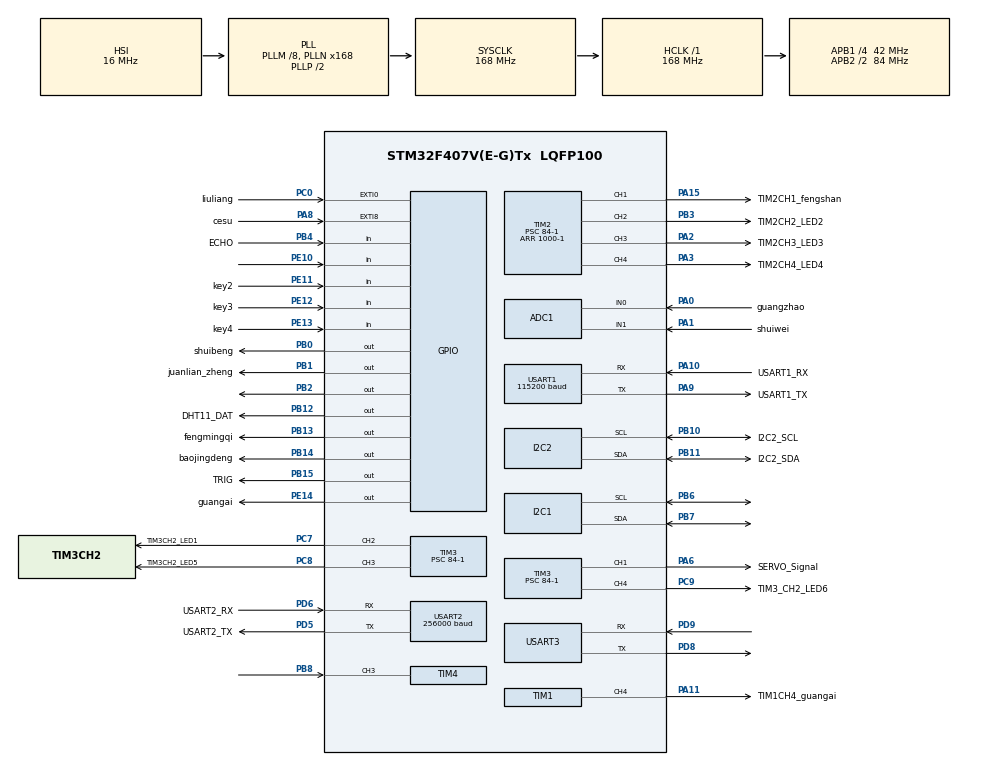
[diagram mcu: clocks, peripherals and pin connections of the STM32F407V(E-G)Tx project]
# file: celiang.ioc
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ADC1.Channel-0\#ChannelRegularConversion=ADC_CHANNEL_0
ADC1.NbrOfConversionFlag=1
ADC1.Rank-0\#ChannelRegularConversion=1
ADC1.SamplingTime-0\#ChannelRegularConversion=ADC_SAMPLETIME_3CYCLES
ADC1.master=1
FREERTOS.Tasks01=defaultTask,24,256,StartDefaultTask,Default,NULL,Dynamic,NULL,NULL;displayTask,16,256,StartdisplayTask,Default,NULL,Dynamic,NULL,NULL;buzzerTask,8,128,StartbuzzerTask,Default,NULL,Dynamic,NULL,NULL
Mcu.Family=STM32F4
Mcu.Name=STM32F407V(E-G)Tx
Mcu.Package=LQFP100
NVIC.EXTI0_IRQn=true\:5\:0\:false\:false\:true\:false\:true\:true\:true
NVIC.EXTI9_5_IRQn=true\:5\:0\:false\:false\:true\:false\:true\:true\:true
NVIC.PriorityGroup=NVIC_PRIORITYGROUP_4
NVIC.TIM7_IRQn=true\:15\:0\:false\:false\:true\:false\:false\:true\:true
NVIC.TimeBase=TIM7_IRQn
NVIC.TimeBaseIP=TIM7
NVIC.USART1_IRQn=true\:5\:0\:false\:false\:true\:true\:true\:true\:true
NVIC.USART2_IRQn=true\:5\:0\:false\:false\:true\:true\:true\:true\:true
PA0-WKUP.GPIO_Label=guangzhao
PA0-WKUP.Signal=ADCx_IN0
PA1.GPIO_Label=shuiwei
PA1.Signal=ADCx_IN1
PA10.GPIO_Label=USART1_RX
PA10.Mode=Asynchronous
PA10.Signal=USART1_RX
PA11.GPIO_Label=TIM1CH4_guangai
PA11.Signal=S_TIM1_CH4
PA13.Mode=Serial_Wire
PA13.Signal=SYS_JTMS-SWDIO
PA14.Mode=Serial_Wire
PA14.Signal=SYS_JTCK-SWCLK
PA15.GPIO_Label=TIM2CH1_fengshan
PA15.Signal=S_TIM2_CH1_ETR
PA2.GPIO_Label=TIM2CH3_LED3
PA2.Signal=S_TIM2_CH3
PA3.GPIO_Label=TIM2CH4_LED4
PA3.Signal=S_TIM2_CH4
PA6.GPIO_Label=SERVO_Signal
PA6.Signal=S_TIM3_CH1
PA8.GPIO_Label=cesu
PA8.Signal=GPXTI8
PA9.GPIO_Label=USART1_TX
PA9.Mode=Asynchronous
PA9.Signal=USART1_TX
PB0.GPIO_Label=shuibeng
PB0.Signal=GPIO_Output
PB1.GPIO_Label=juanlian_zheng
PB1.Signal=GPIO_Output
PB10.GPIO_Label=I2C2_SCL
PB10.Mode=I2C
PB10.Signal=I2C2_SCL
PB11.GPIO_Label=I2C2_SDA
PB11.Mode=I2C
PB11.Signal=I2C2_SDA
PB12.GPIO_Label=DHT11_DAT
PB12.GPIO_ModeDefaultOutputPP=GPIO_MODE_OUTPUT_OD
PB12.GPIO_PuPd=GPIO_NOPULL
PB12.Signal=GPIO_Output
PB13.GPIO_Label=fengmingqi
PB13.Signal=GPIO_Output
PB14.GPIO_Label=baojingdeng
PB14.Signal=GPIO_Output
PB15.GPIO_Label=TRIG
PB15.Signal=GPIO_Output
PB2.Signal=GPIO_Output
PB3.GPIO_Label=TIM2CH2_LED2
PB3.Signal=S_TIM2_CH2
PB4.GPIO_Label=ECHO
PB4.Signal=GPIO_Input
PB6.Mode=I2C
PB6.Signal=I2C1_SCL
PB7.Mode=I2C
PB7.Signal=I2C1_SDA
PB8.Signal=S_TIM4_CH3
PC0.GPIO_Label=liuliang
PC0.Signal=GPXTI0
PC7.GPIO_Label=TIM3CH2_LED1
PC7.Signal=S_TIM3_CH2
PC8.GPIO_Label=TIM3CH2_LED5
PC8.Signal=S_TIM3_CH3
PC9.GPIO_Label=TIM3_CH2_LED6
PC9.Signal=S_TIM3_CH4
PD5.GPIO_Label=USART2_TX
PD5.Mode=Asynchronous
PD5.Signal=USART2_TX
PD6.GPIO_Label=USART2_RX
PD6.Mode=Asynchronous
PD6.Signal=USART2_RX
PD8.Mode=Asynchronous
PD8.Signal=USART3_TX
PD9.Mode=Asynchronous
PD9.Signal=USART3_RX
PE10.Signal=GPIO_Input
PE11.GPIO_Label=key2
PE11.Signal=GPIO_Input
PE12.GPIO_Label=key3
PE12.Signal=GPIO_Input
PE13.GPIO_Label=key4
PE13.Signal=GPIO_Input
PE14.GPIO_Label=guangai
PE14.Signal=GPIO_Output
PH0-OSC_IN.Mode=HSE-External-Oscillator
PH0-OSC_IN.Signal=RCC_OSC_IN
PH1-OSC_OUT.Mode=HSE-External-Oscillator
PH1-OSC_OUT.Signal=RCC_OSC_OUT
ProjectManager.HeapSize=0x200
ProjectManager.StackSize=0x400
ProjectManager.TargetToolchain=CMake
RCC.48MHZClocksFreq_Value=84000000
RCC.AHBFreq_Value=168000000
RCC.APB1CLKDivider=RCC_HCLK_DIV4
RCC.APB1Freq_Value=42000000
RCC.APB1TimFreq_Value=84000000
RCC.APB2CLKDivider=RCC_HCLK_DIV2
RCC.APB2Freq_Value=84000000
RCC.APB2TimFreq_Value=168000000
RCC.CortexFreq_Value=168000000
RCC.HCLKFreq_Value=168000000
RCC.HSE_VALUE=25000000
RCC.HSI_VALUE=16000000
RCC.LSE_VALUE=32768
RCC.PLLM=8
RCC.PLLN=168
RCC.SYSCLKFreq_VALUE=168000000
RCC.SYSCLKSource=RCC_SYSCLKSOURCE_PLLCLK
RCC.VCOOutputFreq_Value=336000000
SH.ADCx_IN0.0=ADC1_IN0,IN0
SH.ADCx_IN1.0=ADC1_IN1,IN1
SH.S_TIM1_CH4.0=TIM1_CH4,PWM Generation4 CH4
SH.S_TIM2_CH1_ETR.0=TIM2_CH1,PWM Generation1 CH1
SH.S_TIM2_CH2.0=TIM2_CH2,PWM Generation2 CH2
SH.S_TIM2_CH3.0=TIM2_CH3,PWM Generation3 CH3
SH.S_TIM2_CH4.0=TIM2_CH4,PWM Generation4 CH4
SH.S_TIM3_CH1.0=TIM3_CH1,PWM Generation1 CH1
SH.S_TIM3_CH2.0=TIM3_CH2,PWM Generation2 CH2
SH.S_TIM3_CH3.0=TIM3_CH3,PWM Generation3 CH3
SH.S_TIM3_CH4.0=TIM3_CH4,PWM Generation4 CH4
SH.S_TIM4_CH3.0=TIM4_CH3,Input_Capture3_from_TI3
TIM1.Channel-PWM\ Generation4\ CH4=TIM_CHANNEL_4
TIM2.Channel-PWM\ Generation1\ CH1=TIM_CHANNEL_1
TIM2.Channel-PWM\ Generation2\ CH2=TIM_CHANNEL_2
TIM2.Channel-PWM\ Generation3\ CH3=TIM_CHANNEL_3
TIM2.Channel-PWM\ Generation4\ CH4=TIM_CHANNEL_4
TIM2.Period=1000-1
TIM2.Prescaler=84-1
TIM3.Channel-PWM\ Generation1\ CH1=TIM_CHANNEL_1
TIM3.Channel-PWM\ Generation2\ CH2=TIM_CHANNEL_2
TIM3.Channel-PWM\ Generation3\ CH3=TIM_CHANNEL_3
TIM3.Channel-PWM\ Generation4\ CH4=TIM_CHANNEL_4
TIM3.Period=20000-1
TIM3.Prescaler=84-1
TIM4.Channel-Input_Capture3_from_TI3=TIM_CHANNEL_3
TIM4.Prescaler=84-1
TIM6.Prescaler=84-1
USART1.BaudRate=115200
USART1.VirtualMode=VM_ASYNC
USART2.BaudRate=256000
USART2.VirtualMode=VM_ASYNC
USART3.VirtualMode=VM_ASYNC
VP_FREERTOS_VS_CMSIS_V2.Mode=CMSIS_V2
VP_SYS_VS_tim7.Mode=TIM7
VP_TIM6_VS_ClockSourceINT.Mode=Enable_Timer
board=custom

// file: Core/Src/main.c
/* USER CODE BEGIN Header */
/**
  ******************************************************************************
  * @file           : main.c
  * @brief          : Main program body
  ******************************************************************************
  * @attention
  *
  * Copyright (c) 2026 STMicroelectronics.
  * All rights reserved.
  *
  * This software is licensed under terms that can be found in the LICENSE file
  * in the root directory of this software component.
  * If no LICENSE file comes with this software, it is provided AS-IS.
  *
  ******************************************************************************
  */
/* USER CODE END Header */
#include "main.h"
#include "cmsis_os.h"
#include "adc.h"
#include "i2c.h"
#include "tim.h"
#include "usart.h"
#include "gpio.h"

/* USER CODE BEGIN Includes */
#include "oled.h"
#include <string.h>

/* USER CODE END Includes */

void SystemClock_Config(void);
void MX_FREERTOS_Init(void);

int main(void)
{

  /* MCU Configuration--------------------------------------------------------*/

  /* Reset of all peripherals, Initializes the Flash interface and the Systick. */
  HAL_Init();

  /* Configure the system clock */
  SystemClock_Config();

  /* Initialize all configured peripherals */
  MX_GPIO_Init();
  MX_ADC1_Init();
  MX_I2C1_Init();
  MX_I2C2_Init();
  MX_TIM2_Init();
  MX_TIM3_Init();
  MX_TIM4_Init();
  MX_TIM6_Init();
  MX_USART1_UART_Init();
  MX_USART2_UART_Init();
  MX_USART3_UART_Init();
  MX_TIM1_Init();
  /* USER CODE BEGIN 2 */
  {
    const char *usart1_msg = "BT_BOOT_OK\r\n";
    const char *usart2_msg = "UART2_BOOT_OK\r\n";
    (void)HAL_UART_Transmit(&huart1, (uint8_t *)usart1_msg, (uint16_t)strlen(usart1_msg), 300U);
    (void)HAL_UART_Transmit(&huart2, (uint8_t *)usart2_msg, (uint16_t)strlen(usart2_msg), 300U);
  }
  OLED_Init();
  OLED_Clear();

  /* USER CODE END 2 */

  /* Init scheduler */
  osKernelInitialize();  /* Call init function for freertos objects (in cmsis_os2.c) */
  MX_FREERTOS_Init();

  /* Start scheduler */
  osKernelStart();

  /* We should never get here as control is now taken by the scheduler */

  /* Infinite loop */
  while (1)
  {

  }
}

void SystemClock_Config(void)
{
  RCC_OscInitTypeDef RCC_OscInitStruct = {0};
  RCC_ClkInitTypeDef RCC_ClkInitStruct = {0};

  /** Configure the main internal regulator output voltage
  */
  __HAL_RCC_PWR_CLK_ENABLE();
  __HAL_PWR_VOLTAGESCALING_CONFIG(PWR_REGULATOR_VOLTAGE_SCALE1);

  /** Initializes the RCC Oscillators according to the specified parameters
  * in the RCC_OscInitTypeDef structure.
  */
  RCC_OscInitStruct.OscillatorType = RCC_OSCILLATORTYPE_HSI;
  RCC_OscInitStruct.HSIState = RCC_HSI_ON;
  RCC_OscInitStruct.HSICalibrationValue = RCC_HSICALIBRATION_DEFAULT;
  RCC_OscInitStruct.PLL.PLLState = RCC_PLL_ON;
  RCC_OscInitStruct.PLL.PLLSource = RCC_PLLSOURCE_HSI;
  RCC_OscInitStruct.PLL.PLLM = 8;
  RCC_OscInitStruct.PLL.PLLN = 168;
  RCC_OscInitStruct.PLL.PLLP = RCC_PLLP_DIV2;
  RCC_OscInitStruct.PLL.PLLQ = 4;
  if (HAL_RCC_OscConfig(&RCC_OscInitStruct) != HAL_OK)
  {
    Error_Handler();
  }

  /** Initializes the CPU, AHB and APB buses clocks
  */
  RCC_ClkInitStruct.ClockType = RCC_CLOCKTYPE_HCLK|RCC_CLOCKTYPE_SYSCLK
                              |RCC_CLOCKTYPE_PCLK1|RCC_CLOCKTYPE_PCLK2;
  RCC_ClkInitStruct.SYSCLKSource = RCC_SYSCLKSOURCE_PLLCLK;
  RCC_ClkInitStruct.AHBCLKDivider = RCC_SYSCLK_DIV1;
  RCC_ClkInitStruct.APB1CLKDivider = RCC_HCLK_DIV4;
  RCC_ClkInitStruct.APB2CLKDivider = RCC_HCLK_DIV2;

  if (HAL_RCC_ClockConfig(&RCC_ClkInitStruct, FLASH_LATENCY_5) != HAL_OK)
  {
    Error_Handler();
  }
}

void HAL_TIM_PeriodElapsedCallback(TIM_HandleTypeDef *htim)
{
  if (htim->Instance == TIM7)
  {
    HAL_IncTick();
  }
}

void Error_Handler(void)
{
  __disable_irq();
  while (1)
  {
  }
}

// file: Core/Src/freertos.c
/* USER CODE BEGIN Header */
/**
  ******************************************************************************
  * File Name          : freertos.c
  * Description        : Code for freertos applications
  ******************************************************************************
  * @attention
  *
  * Copyright (c) 2026 STMicroelectronics.
  * All rights reserved.
  *
  * This software is licensed under terms that can be found in the LICENSE file
  * in the root directory of this software component.
  * If no LICENSE file comes with this software, it is provided AS-IS.
  *
  ******************************************************************************
  */
/* USER CODE END Header */

#include "FreeRTOS.h"
#include "task.h"
#include "main.h"
#include "cmsis_os.h"

/* USER CODE BEGIN Includes */
#include "alarm_led.h"
#include "auto_light.h"
#include "buzzer.h"
#include "curtain.h"
#include "dht11.h"
#include "fan_program.h"
#include "flow_sensor.h"
#include "irrigation.h"
#include "light_sensor.h"
#include "light_pwm.h"
#include "motor_pwm.h"
#include "motor_speed.h"
#include "oled.h"
#include "pump.h"
#include "servo.h"
#include "temperature_sensor.h"
#include "ultrasonic.h"
#include "usart.h"
#include "bluetooth.h"
#include "water_level_alarm.h"
#include "button.h"
#include "gate_access.h"
#include "output_fault.h"
#include "water_control.h"
#include <stdarg.h>
#include <stdio.h>

/*
 * 当前工程总说明
 *
 * 一、已使用引脚与功能对应
 * 1. OLED 显示屏（I2C1）
 *    PB6  -> I2C1_SCL
 *    PB7  -> I2C1_SDA
 *
 * 2. 串口1（HC-08 蓝牙透传，9600bps）
 *    PA9  -> USART1_TX
 *    PA10 -> USART1_RX
 *
 * 3. 串口2（串口屏，256000bps）
 *    PD5  -> USART2_TX
 *    PD6  -> USART2_RX
 *
 * 4. 串口3（闲置，9600bps）
 *    PD8  -> USART3_TX
 *    PD9  -> USART3_RX
 *
 * 5. 风扇 PWM
 *    PA15 -> TIM2_CH1
 *
 * 6. 8 路补光灯（10 档逻辑）
 *    PB3  -> TIM2_CH2 -> LED1
 *    PA2  -> TIM2_CH3 -> LED2
 *    PA3  -> TIM2_CH4 -> LED3
 *    PC7  -> TIM3_CH2 -> LED4
 *    PC8  -> TIM3_CH3 -> LED5
 *    PC9  -> TIM3_CH4 -> LED6
 *    PD12 -> GPIO     -> LED7
 *    PD13 -> GPIO     -> LED8
 *
 * 7. 舵机 / 闸门
 *    PC6  -> TIM3_CH1（0 度关，230 度开）
 *
 * 8. 风扇测速
 *    PA8  -> cesu（外部中断计脉冲，78 脉冲/转）
 *
 * 9. 水泵
 *    PB0  -> shuibeng
 *
 * 10. 卷帘
 *     PB1  -> juanlian_zheng（正转）
 *     PB2  -> juanlian_fan（反转）
 *
 * 11. 灌溉
 *     PA11 -> TIM1_CH4（比例阀 PWM）
 *     PE14 -> guangai（总开关 GPIO）
 *
 * 12. DHT11（仅湿度）
 *     PB12 -> DHT11_DAT
 *
 * 13. 蜂鸣器
 *     PB13 -> fengmingqi（翻转驱动）
 *
 * 14. 报警灯
 *     PB14 -> baojingdeng
 *
 * 15. 超声波 HC-SR04
 *     PB15 -> TRIG
 *     PB8  -> ECHO（TIM4_CH3 输入捕获，1MHz 计时）
 *     校准参数：48 us/cm，水位基准 11.3 cm
 *
 * 16. 光照（模拟量）
 *     PA0  -> guangzhao / ADC1_IN0（0~3.3V）
 *
 * 17. 温度 NTC（模拟量）
 *     PA1  -> shuiwei / ADC1_IN1（10kΩ B=3950，偏置 -12℃）
 *
 * 18. 流量 YF-S401
 *     PC0  -> liuliang（外部中断，588 脉冲/L）
 *
 * 19. 按键（消抖 30ms，长按 800ms，连发 200ms）
 *     PE10 -> KEY1（菜单/选择）
 *     PE11 -> KEY2（上/增加）
 *     PE12 -> KEY3（下/减少）
 *     PE13 -> KEY4（返回/取消）
 *
 * 二、当前主要功能模块
 * 1.  风扇：PWM 调速 + 测速 + 60 秒 6 段程控（闭环 PID，偏差报警）
 * 2.  灯光：手动 / 自动补光（光照传感器反馈），10 档光柱
 * 3.  水泵：继电器开/关，带舵机保护序列（RequestOn/Off）
 * 4.  灌溉：4 档离散（OFF/LOW/MED/HIGH，0/33/66/100% PWM）+ 总开关
 * 5.  卷帘：正转 / 反转 / 停止（双 GPIO H 桥）
 * 6.  闸门：舵机开/关 + 密码授权（默认 123456，30 秒超时）
 * 7.  蜂鸣器：翻转驱动 + 手动/自动双源（AutoOn 不覆盖手动）
 * 8.  报警灯：手动/自动双源
 * 9.  水位报警：阈值可调，超限自动触发蜂鸣器+报警灯
 * 10. 水位自控：滞后控制水泵自动启停，5 分钟超时保护，流量异常检测
 * 11. 输出故障检测：8 路故障（风扇/水泵/灌溉/卷帘/蜂鸣器/报警灯/补光/流量泄漏）
 * 12. 蓝牙推送：每 2 秒推送温湿度/水位/光照/风扇/灌溉/故障到手机 APP
 * 13. OLED 菜单：按键导航，灌溉/水位/灯光/门禁/故障/系统 6 个子页
 * 14. 传感器：光照电压、NTC 温度、DHT11 湿度、超声波距离/水位、风扇 RPM、流量
 *
 * 三、灯光 10 档光柱逻辑
 * 奇数档新增 LED 亮 50%，偶数档亮 100%；第 9 档全部 75%，第 10 档全部 100%
 * 1.  10%  -> LED1=50%
 * 2.  20%  -> LED1=100%
 * 3.  30%  -> LED1=100%, LED2=50%
 * 4.  40%  -> LED1~2=100%
 * 5.  50%  -> LED1~2=100%, LED3=50%
 * 6.  60%  -> LED1~3=100%
 * 7.  70%  -> LED1~3=100%, LED4=50%
 * 8.  80%  -> LED1~4=100%
 * 9.  90%  -> LED1~8 全部 75%
 * 10. 100% -> LED1~8 全部 100%
 *
 * 四、串口协议（三条 UART 均可接收命令）
 * 1. 数据包格式：<命令>KK，以 KK 结尾
 * 2. 回复路由：USART1(蓝牙)→USART1 | USART2(串口屏)→USART2 | USART3→USART3
 * 3. printf 输出定向到 USART2（供串口屏调试）
 *
 * 五、全部串口命令（38 条）
 * 1. 风扇
 *    fan+KK / fan-KK / fanrunKK / fanstopKK
 *
 * 2. 灯光
 *    L+KK / L-KK / zidongKK / shoudongKK / light?KK
 *
 * 3. 水泵 / 灌溉
 *    pumpOnKK / pumpOffKK
 *    irri+KK / irri-KK / irri?KK
 *    waterOnKK / waterOffKK
 *
 * 4. 蜂鸣器 / 报警灯
 *    buzzOnKK / buzzOffKK
 *    alarmOnKK / alarmOffKK
 *
 * 5. 卷帘
 *    curtain+KK / curtain-KK / curtain0KK
 *
 * 6. 闸门（gateOn 需先 auth+密码 授权）
 *    auth+123456KK / gateOnKK / gateOffKK
 *
 * 7. 传感器查询
 *    temp?KK / humi?KK / dht?KK / dist?KK / level?KK
 *
 * 8. 水位报警
 *    wAlarmOnKK / wAlarmOffKK / wAlarm?KK
 *    water+KK / water-KK
 *
 * 9. 系统
 *    status?KK
 *
 * 六、FreeRTOS 任务分工
 * 1. defaultTask（Normal）
 *    - 所有传感器采集（DHT11 1.2s / 超声波 25ms / ADC 按需）
 *    - 执行器状态机（水泵保护序列 / 风扇程控 / 自动补光）
 *    - 水位报警 / 水位自控 / 输出故障检测
 *    - OLED 刷新（50ms，菜单激活时自动跳过）
 *    - 串口屏数据发送（120ms 5 相轮发）
 *    - 蓝牙状态推送（2000ms）
 *
 * 2. displayTask（BelowNormal）
 *    - 按键轮询（50ms）
 *    - OLED 菜单状态机（IDLE→主菜单→6 个子页）
 *    - 灌溉子页中 KEY2/KEY3 直接调节 4 档级别
 *    - 菜单激活时置位 g_menu_active，defaultTask 暂停 OLED 刷新
 *
 * 3. buzzerTask（Low）
 *    - 每 1ms 调用 Buzzer_Process() 翻转 GPIO 产生 ~1kHz 方波
 *
 * 七、USART2 串口屏通信（PD5/PD6, 256000bps）
 *
 * 1. 发送数据（MCU→串口屏，26 条显示指令，分 5 相每 120ms 轮发）
 *
 *   【相位 0】波形 s0（4 通道，各占 1/4 高度）
 *     add s0.id,0,<v>  — 风扇 RPM（150~195）
 *     add s0.id,1,<v>  — 灯光亮度%（100~145）
 *     add s0.id,2,<v>  — 水泵开关（50~95）
 *     add s0.id,3,<v>  — 蜂鸣器开关（0~45）
 *
 *   【相位 1】波形 s1（4 通道，各占 1/4 高度）
 *     add s1.id,0,<v>  — 报警灯 0/1（150~195）
 *     add s1.id,1,<v>  — 闸门 0/1（100~145）
 *     add s1.id,2,<v>  — 光照电压×100（50~95）
 *
 *   【相位 2】波形 s1 通道 3 + 波形 s2（3 通道，各占 1/3 高度）+ 文本
 *     add s1.id,3,<v>  — 温度×10（0~45）
 *     add s2.id,0,<v>  — 湿度%（133~193）
 *     add s2.id,1,<v>  — 水位×10cm（66~126）
 *     add s2.id,2,<v>  — 流量 ml/min（0~60）
 *     page0.t11.txt    — 风扇实时 RPM
 *     page0.t12.txt    — 灯光亮度%
 *
 *   【相位 3】执行器状态文本
 *     page0.t13.txt    — 灌溉 OPEN/CLOSE
 *     page0.t14.txt    — 水泵 OPEN/CLOSE
 *     page0.t15.txt    — 报警灯 OPEN/CLOSE
 *     page0.t16.txt    — 闸门 OPEN/CLOSE
 *     page0.t33.txt    — 卷帘 OPEN/CLOSE/STOP
 *     page0.t34.txt    — 蜂鸣器 OPEN/CLOSE
 *
 *   【相位 4】传感器数值文本
 *     page0.t20.txt    — 光照电压 x.xxV
 *     page0.t9.txt     — 温度 xx.xC
 *     page0.t10.txt    — 湿度 xx%
 *     page0.t21.txt    — 当前水位 xx.xcm
 *     page0.t36.txt    — 水位报警阈值 xx.xcm
 *     page0.t37.txt    — 风扇程控 T:xxxs,RPM:xxx
 *
 * 2. 接收指令（串口屏→MCU，全部 38 条命令可用）
 *    风扇: fan+ fan- fanrun fanstop
 *    灯光: L+ L- zidong shoudong light?
 *    水泵灌溉: pumpOn pumpOff waterOn waterOff irri+ irri- irri?
 *    蜂鸣器报警: buzzOn buzzOff alarmOn alarmOff
 *    卷帘: curtain+ curtain- curtain0
 *    门禁: auth+密码 gateOn gateOff
 *    传感器: temp? humi? dht? dist? level?
 *    水位报警: wAlarmOn wAlarmOff wAlarm? water+ water-
 *    系统: status?
 *
 * 3. 流控
 *    串口屏收到数据后暂停 120ms 再继续发送，避免串口屏处理不过来。
 *    数据帧以 \\xFF\\xFF\\xFF 结尾。
 */

/* USER CODE END Includes */

/* USER CODE BEGIN PD */
#define USART2_TX_PAUSE_AFTER_RX_MS  120U /* 串口屏接收后暂停发送时间 */
#define AUTO_LIGHT_CONTROL_PERIOD_MS 100U /* 自动补光控制刷新周期 */
#define OLED_REFRESH_PERIOD_MS        50U /* OLED 刷新周期 */
#define SCREEN_REFRESH_PERIOD_MS     120U /* 串口屏刷新周期 */
#define ESP32_PUSH_MS               1000U /* ESP32-S3 传感器数据推送周期 */

/* USER CODE END PD */

/* USER CODE BEGIN Variables */
/* DisplayData_t is defined in usart.h */

volatile DisplayData_t g_display_data = {0};
static volatile uint8_t g_menu_active = 0U;

static uint8_t Wave_MapToLayer(uint16_t value, uint16_t value_max, uint8_t layer_base, uint8_t layer_span)
{
  uint32_t scaled;

  if (value_max == 0U)
  {
    return layer_base;
  }

  if (value > value_max)
  {
    value = value_max;
  }

  scaled = ((uint32_t)value * (uint32_t)layer_span) / (uint32_t)value_max;
  return (uint8_t)(layer_base + (uint8_t)scaled);
}

static uint8_t QuantizeToStep(uint8_t value, uint8_t step, uint8_t max_value)
{
  uint16_t quantized;

  if (step == 0U)
  {
    return value;
  }

  quantized = (uint16_t)(((uint16_t)value + (uint16_t)(step / 2U)) / (uint16_t)step) * (uint16_t)step;
  if (quantized > max_value)
  {
    quantized = max_value;
  }

  return (uint8_t)quantized;
}

static void DisplayTask_SendUart2(const char *format, ...)
{
  char tx_buffer[64];
  va_list args;
  int length;

  va_start(args, format);
  length = vsnprintf(tx_buffer, sizeof(tx_buffer), format, args);
  va_end(args);

  if (length <= 0)
  {
    return;
  }

  if (length > (int)(sizeof(tx_buffer) - 1))
  {
    length = (int)(sizeof(tx_buffer) - 1);
  }

  (void)HAL_UART_Transmit(&huart2, (uint8_t *)tx_buffer, (uint16_t)length, 100U);
}

/* USER CODE END Variables */
/* Definitions for defaultTask */
osThreadId_t defaultTaskHandle;
const osThreadAttr_t defaultTask_attributes = {
  .name = "defaultTask",
  .stack_size = 256 * 4,
  .priority = (osPriority_t) osPriorityNormal,
};
/* Definitions for displayTask */
osThreadId_t displayTaskHandle;
const osThreadAttr_t displayTask_attributes = {
  .name = "displayTask",
  .stack_size = 256 * 4,
  .priority = (osPriority_t) osPriorityBelowNormal,
};
/* Definitions for buzzerTask */
osThreadId_t buzzerTaskHandle;
const osThreadAttr_t buzzerTask_attributes = {
  .name = "buzzerTask",
  .stack_size = 128 * 4,
  .priority = (osPriority_t) osPriorityLow,
};
/* Definitions for esp32Task */
osThreadId_t esp32TaskHandle;
const osThreadAttr_t esp32Task_attributes = {
  .name = "esp32Task",
  .stack_size = 512 * 4,
  .priority = (osPriority_t) osPriorityBelowNormal,
};

void StartDefaultTask(void *argument);
void StartdisplayTask(void *argument);
void StartbuzzerTask(void *argument);
void Startesp32Task(void *argument);

void MX_FREERTOS_Init(void); /* (MISRA C 2004 rule 8.1) */

void MX_FREERTOS_Init(void) {

  /* Create the thread(s) */
  /* creation of defaultTask */
  defaultTaskHandle = osThreadNew(StartDefaultTask, NULL, &defaultTask_attributes);

  /* creation of displayTask */
  displayTaskHandle = osThreadNew(StartdisplayTask, NULL, &displayTask_attributes);

  /* creation of buzzerTask */
  buzzerTaskHandle = osThreadNew(StartbuzzerTask, NULL, &buzzerTask_attributes);

  /* creation of esp32Task */
  esp32TaskHandle = osThreadNew(Startesp32Task, NULL, &esp32Task_attributes);

}

void StartDefaultTask(void *argument)
{
  /* USER CODE BEGIN StartDefaultTask */
  DHT11_Data_t dht11_data;
  uint8_t dht11_humidity = 0U;
  uint32_t dht11_last_tick = 0U;
  uint32_t auto_light_last_tick = 0U;
  uint32_t usart2_report_tick = 0U;
  uint32_t oled_refresh_tick = 0U;
  uint32_t bluetooth_push_tick = 0U;
  uint16_t light_voltage_x100 = 0U;
  uint16_t temperature_x10 = 0U;
  uint16_t distance_x10_cm = 0U;
  uint16_t water_level_x10_cm = 0U;
  uint16_t flow_ml_per_min = 0U;
  uint16_t motor_rpm = 0U;
  uint16_t fan_target_rpm = 0U;
  uint16_t fan_elapsed_s = 0U;
  uint8_t fan_segment = 0U;
  uint8_t light_duty = 0U;
  const char *pump_screen_state;
  const char *irrigation_screen_state;
  const char *buzzer_screen_state;
  const char *alarm_screen_state;
  const char *gate_screen_state;
  const char *curtain_screen_state;
  uint8_t s0_ch1_value;
  uint8_t s0_ch2_value;
  uint8_t s0_ch3_value;
  uint8_t s0_ch4_value;
  uint8_t s1_ch1_value;
  uint8_t s1_ch2_value;
  uint8_t s1_ch3_value;
  uint8_t s1_ch4_value;
  uint8_t s2_ch1_value;
  uint8_t s2_ch2_value;
  uint8_t s2_ch3_value;
  uint8_t light_duty_quantized;
  uint8_t screen_tx_phase = 0U;
  uint32_t now_tick;
  float light_voltage_display;
  float temperature_display;

  AlarmLed_Init();
  AutoLight_Init();
  Buzzer_Init();
  Curtain_Init();
  DHT11_Init();
  USART_SetPrintfUart(&huart2);
  FanProgram_Init();
  FlowSensor_Init();
  Irrigation_Init();
  LightSensor_Init();
  TemperatureSensor_Init();
  Ultrasonic_Init();
  Bluetooth_Init();
  WaterLevelAlarm_Init();
  OutputFault_Init();
  WaterControl_Init();
  GateAccess_Init();
  Button_Init();
  Pump_Init();
  LightPwm_Init();
  LightPwm_SetDutyPercent(0);
  MotorPwm_Init();
  MotorPwm_SetDutyPercent(50);
  Servo_Init();
  MotorSpeed_Init();
  /* Infinite loop */
  for(;;)
  {
    /* 处理从 ISR 排队过来的串口命令包（非阻塞） */
    USART_PollPackets();

    Pump_Process();
    FlowSensor_Update();
    MotorSpeed_Update();
    OutputFault_Process(HAL_GetTick());
    WaterControl_Process(HAL_GetTick());
    Button_Process();
    motor_rpm = (uint16_t)(MotorSpeed_GetRpm() + 0.5f);
    FanProgram_Process(HAL_GetTick(), motor_rpm);
    if ((HAL_GetTick() - dht11_last_tick) >= 1200U)
    {
      dht11_last_tick = HAL_GetTick();
      if (DHT11_Read(&dht11_data) != 0U)
      {
        dht11_humidity = dht11_data.humidity;
        g_display_data.dht11_temperature = dht11_data.temperature;
      }
    }
    Ultrasonic_Process();
    if (Ultrasonic_HasValidData() != 0U)
    {
      distance_x10_cm = Ultrasonic_GetLastDistanceX10Cm();
      water_level_x10_cm = Ultrasonic_ConvertDistanceToWaterLevelX10Cm(distance_x10_cm);
    }

    if ((HAL_GetTick() - auto_light_last_tick) >= AUTO_LIGHT_CONTROL_PERIOD_MS)
    {
      auto_light_last_tick = HAL_GetTick();
      (void)AutoLight_Process();
    }

    if (FanProgram_IsActive() == 0U)
    {
      WaterLevelAlarm_Process(water_level_x10_cm);
    }

    light_voltage_display = LightSensor_ReadVoltageAverage(LIGHT_SENSOR_SAMPLE_COUNT);
    temperature_display = TemperatureSensor_ReadCelsiusAverage(TEMPERATURE_SENSOR_SAMPLE_COUNT);
    light_voltage_x100 = (light_voltage_display <= 0.0f) ? 0U : (uint16_t)(light_voltage_display * 100.0f + 0.5f);
    temperature_x10 = (temperature_display <= 0.0f) ? 0U : (uint16_t)(temperature_display * 10.0f + 0.5f);

    /* 缓存原始值，供 USART 命令查询使用（避免重复 ADC 轮询） */
    {
      uint16_t cached_light_raw = LightSensor_ReadRaw();
      uint8_t cached_light_percent;
      uint32_t percent_tmp = ((uint32_t)cached_light_raw * 100U) / LIGHT_SENSOR_ADC_MAX_VALUE;
      if (percent_tmp > 100U) { percent_tmp = 100U; }
      cached_light_percent = (uint8_t)percent_tmp;
      g_display_data.light_raw = cached_light_raw;
      g_display_data.light_percent = cached_light_percent;
    }
    flow_ml_per_min = FlowSensor_GetFlowMlPerMin();
    motor_rpm = (uint16_t)(MotorSpeed_GetRpm() + 0.5f);
    fan_target_rpm = FanProgram_GetTargetRpm();
    fan_elapsed_s = (uint16_t)(FanProgram_GetElapsedMs() / 1000U);
    fan_segment = FanProgram_GetSegmentIndex();
    light_duty = LightPwm_GetDutyPercent();

    g_display_data.motor_rpm = motor_rpm;
    g_display_data.light_duty = light_duty;
    g_display_data.light_voltage_x100 = light_voltage_x100;
    g_display_data.temperature_x10 = temperature_x10;
    g_display_data.dht11_humidity = dht11_humidity;
    g_display_data.distance_x10_cm = distance_x10_cm;
    g_display_data.water_level_x10_cm = water_level_x10_cm;
    g_display_data.flow_ml_per_min = flow_ml_per_min;
    g_display_data.pump_on = (uint8_t)((Pump_IsOn() != 0U) ? 1U : 0U);
    g_display_data.buzzer_on = (uint8_t)((Buzzer_IsOn() != 0U) ? 1U : 0U);
    g_display_data.alarm_on = (uint8_t)((AlarmLed_IsOn() != 0U) ? 1U : 0U);
    g_display_data.gate_open = (uint8_t)((Servo_GetAngle() >= SERVO_GATE_OPEN_ANGLE) ? 1U : 0U);

    now_tick = HAL_GetTick();

    if ((now_tick - oled_refresh_tick) >= OLED_REFRESH_PERIOD_MS)
    {
      oled_refresh_tick = now_tick;
      if (g_menu_active == 0U)
      {
        OLED_AreaClear(0, 0, OLED_WIDTH, OLED_HEIGHT);
      OLED_Printf5x8(0, 0,  "Fan:%u%%", MotorPwm_GetDutyPercent());
      OLED_Printf5x8(64, 0, "Light:%u%%", g_display_data.light_duty);
      OLED_Printf5x8(0, 8,  "RPM:%u", g_display_data.motor_rpm);
      OLED_Printf5x8(64, 8, "P:%lu", (unsigned long)MotorSpeed_GetPulseCount());
      OLED_Printf5x8(0, 16, "T:%u", fan_target_rpm);
      OLED_Printf5x8(34, 16, "S%u", fan_segment);
      OLED_Printf5x8(48, 16, "%us", fan_elapsed_s);
      OLED_Printf5x8(88, 16, "%s", FanProgram_GetStateText());
      OLED_Printf5x8(0, 24, "Hum:%u%%", g_display_data.dht11_humidity);
      OLED_Printf5x8(64, 24, "Temp:%u.%uC",
                     g_display_data.temperature_x10 / 10U,
                     g_display_data.temperature_x10 % 10U);
      OLED_Printf5x8(0, 32, "Dist:%u.%u",
                     g_display_data.distance_x10_cm / 10U,
                     g_display_data.distance_x10_cm % 10U);
      OLED_Printf5x8(64, 32, "U:%u E:%lu", Ultrasonic_GetDebugState(),
                     (unsigned long)Ultrasonic_GetLastEchoWidthUs());
      OLED_Printf5x8(0, 40, "Water:%u.%u",
                     g_display_data.water_level_x10_cm / 10U,
                     g_display_data.water_level_x10_cm % 10U);
      OLED_Printf5x8(76, 40, "cm");
        OLED_Printf5x8(0, 48, "Flow:%u/m", g_display_data.flow_ml_per_min);
        OLED_Printf5x8(64, 48, "Tot:%lumL", (unsigned long)FlowSensor_GetTotalMl());
        OLED_Update();
      }
    }

    /* 蓝牙轮询-响应模式：仅在手机先发过数据后才开始周期推送 */
    if ((g_usart_polling_enabled != 0U) &&
        (Bluetooth_IsConnected() != 0U) &&
        ((now_tick - bluetooth_push_tick) >= BLUETOOTH_STATUS_PUSH_MS))
    {
      bluetooth_push_tick = now_tick;
      {
        char bt_buf[256];
        uint16_t bt_distance_x10 = (Ultrasonic_HasValidData() != 0U) ? Ultrasonic_GetLastDistanceX10Cm() : 0U;
        uint16_t bt_water_level_x10 = Ultrasonic_ConvertDistanceToWaterLevelX10Cm(bt_distance_x10);
        uint16_t bt_temp_x10 = g_display_data.temperature_x10;
        uint8_t bt_humidity = g_display_data.dht11_humidity;
        uint16_t bt_light_x100 = g_display_data.light_voltage_x100;
        uint16_t bt_rpm = g_display_data.motor_rpm;
        uint16_t bt_flow = g_display_data.flow_ml_per_min;
        uint8_t bt_pump = g_display_data.pump_on;
        uint8_t bt_buzzer = g_display_data.buzzer_on;
        uint8_t bt_alarm = g_display_data.alarm_on;
        uint8_t bt_gate = g_display_data.gate_open;
        uint8_t bt_curtain = (uint8_t)Curtain_GetState();
        uint8_t bt_fan_active = FanProgram_IsActive();
        uint16_t bt_fan_target = FanProgram_GetTargetRpm();
        uint8_t bt_fan_seg = FanProgram_GetSegmentIndex();
        uint16_t bt_fan_elapsed = (uint16_t)(FanProgram_GetElapsedMs() / 1000U);
        uint8_t bt_fan_duty = MotorPwm_GetDutyPercent();
        uint8_t bt_light_duty = g_display_data.light_duty;
        uint8_t bt_light_auto = AutoLight_IsAutoMode();
        uint8_t bt_irri_level = Irrigation_GetLevel();
        uint8_t bt_irri_duty = Irrigation_GetDutyPercent();
        uint8_t bt_walarm_on = WaterLevelAlarm_IsEnabled();
        uint16_t bt_walarm_thr = WaterLevelAlarm_GetThresholdX10Cm();
        uint8_t bt_wctrl_auto = WaterControl_IsAutoMode();
        uint16_t bt_wctrl_target = WaterControl_GetTargetX10Cm();
        uint8_t bt_fault = OutputFault_HasAnyFault();
        const char *curtain_str;
        const char *fault_str;

        switch (bt_curtain)
        {
          case CURTAIN_STATE_FORWARD:  curtain_str = "FWD";  break;
          case CURTAIN_STATE_REVERSE:  curtain_str = "REV";  break;
          default:                     curtain_str = "STOP"; break;
        }

        fault_str = (bt_fault != 0U) ? "FAULT" : "OK";

        /* ---- Line 1: センサデータ ---- */
        (void)snprintf(bt_buf, sizeof(bt_buf),
                       "T:%u.%uC H:%u%% WL:%u.%ucm D:%u.%ucm L:%u.%02uV FL:%uml/m\r\n",
                       bt_temp_x10 / 10U, bt_temp_x10 % 10U,
                       bt_humidity,
                       bt_water_level_x10 / 10U, bt_water_level_x10 % 10U,
                       bt_distance_x10 / 10U, bt_distance_x10 % 10U,
                       bt_light_x100 / 100U, bt_light_x100 % 100U,
                       bt_flow);
        Bluetooth_SendString(bt_buf);

        /* ---- Line 2: アクチュエータ状態 ---- */
        (void)snprintf(bt_buf, sizeof(bt_buf),
                       "FAN:%uRPM/%u%% PGM:%s S%u T:%uRPM E:%us "
                       "PUMP:%s BUZZ:%s ALM:%s GATE:%s CUR:%s "
                       "IRR:%s/%u%%\r\n",
                       bt_rpm,
                       bt_fan_duty,
                       (bt_fan_active != 0U) ? "ON" : "OFF",
                       bt_fan_seg,
                       bt_fan_target,
                       bt_fan_elapsed,
                       (bt_pump != 0U) ? "ON" : "OFF",
                       (bt_buzzer != 0U) ? "ON" : "OFF",
                       (bt_alarm != 0U) ? "ON" : "OFF",
                       (bt_gate != 0U) ? "OPEN" : "CLOSED",
                       curtain_str,
                       Irrigation_GetLevelName(bt_irri_level),
                       bt_irri_duty);
        Bluetooth_SendString(bt_buf);

        /* ---- Line 3: モード + 故障 ---- */
        (void)snprintf(bt_buf, sizeof(bt_buf),
                       "LM:%s LD:%u%% WA:%s/%u.%ucm WC:%s/%u.%ucm [%s]\r\n",
                       (bt_light_auto != 0U) ? "AUTO" : "MANUAL",
                       bt_light_duty,
                       (bt_walarm_on != 0U) ? "ON" : "OFF",
                       bt_walarm_thr / 10U, bt_walarm_thr % 10U,
                       (bt_wctrl_auto != 0U) ? "AUTO" : "MANUAL",
                       bt_wctrl_target / 10U, bt_wctrl_target % 10U,
                       fault_str);
        Bluetooth_SendString(bt_buf);
      }
    }

    if ((now_tick - usart2_report_tick) >= SCREEN_REFRESH_PERIOD_MS)
    {
      usart2_report_tick = now_tick;
      if ((now_tick - USART2_GetLastRxTick()) >= USART2_TX_PAUSE_AFTER_RX_MS)
      {
        pump_screen_state = (Pump_IsOn() != 0U) ? "OPEN" : "CLOSE";
        irrigation_screen_state = (Irrigation_IsOn() != 0U) ? "OPEN" : "CLOSE";
        buzzer_screen_state = (Buzzer_IsOn() != 0U) ? "OPEN" : "CLOSE";
        alarm_screen_state = (AlarmLed_IsOn() != 0U) ? "OPEN" : "CLOSE";
        gate_screen_state = (g_display_data.gate_open != 0U) ? "OPEN" : "CLOSE";
        switch (Curtain_GetState())
        {
          case CURTAIN_STATE_FORWARD:
            curtain_screen_state = "OPEN";
            break;

          case CURTAIN_STATE_REVERSE:
            curtain_screen_state = "CLOSE";
            break;

          default:
            curtain_screen_state = "STOP";
            break;
        }
        light_duty_quantized = QuantizeToStep(g_display_data.light_duty, 10U, 100U);
        s0_ch1_value = Wave_MapToLayer(g_display_data.motor_rpm, 1000U, 150U, 45U);
        s0_ch2_value = Wave_MapToLayer(light_duty_quantized,  100U, 100U, 45U);
        s0_ch3_value = Wave_MapToLayer(g_display_data.pump_on,   1U,  50U, 45U);
        s0_ch4_value = Wave_MapToLayer(g_display_data.buzzer_on, 1U,   0U, 45U);

        s1_ch1_value = Wave_MapToLayer(g_display_data.alarm_on,              1U,  150U, 45U);
        s1_ch2_value = Wave_MapToLayer(g_display_data.gate_open,             1U,  100U, 45U);
        s1_ch3_value = Wave_MapToLayer(g_display_data.light_voltage_x100,  330U,   50U, 45U);
        s1_ch4_value = Wave_MapToLayer(g_display_data.temperature_x10,     500U,    0U, 45U);

        s2_ch1_value = Wave_MapToLayer(g_display_data.dht11_humidity,       100U,  133U, 60U);
        s2_ch2_value = Wave_MapToLayer(g_display_data.water_level_x10_cm,   200U,   66U, 60U);
        s2_ch3_value = Wave_MapToLayer(g_display_data.flow_ml_per_min,     2000U,    0U, 60U);

        switch (screen_tx_phase)
        {
          case 0U:
            DisplayTask_SendUart2("add s0.id,0,%d\xFF\xFF\xFF", s0_ch1_value);
            DisplayTask_SendUart2("add s0.id,1,%d\xFF\xFF\xFF", s0_ch2_value);
            DisplayTask_SendUart2("add s0.id,2,%d\xFF\xFF\xFF", s0_ch3_value);
            DisplayTask_SendUart2("add s0.id,3,%d\xFF\xFF\xFF", s0_ch4_value);
            break;

          case 1U:
            DisplayTask_SendUart2("add s1.id,0,%d\xFF\xFF\xFF", s1_ch1_value);
            DisplayTask_SendUart2("add s1.id,1,%d\xFF\xFF\xFF", s1_ch2_value);
            DisplayTask_SendUart2("add s1.id,2,%d\xFF\xFF\xFF", s1_ch3_value);
            break;

          case 2U:
            DisplayTask_SendUart2("add s1.id,3,%d\xFF\xFF\xFF", s1_ch4_value);
            DisplayTask_SendUart2("add s2.id,0,%d\xFF\xFF\xFF", s2_ch1_value);
            DisplayTask_SendUart2("add s2.id,1,%d\xFF\xFF\xFF", s2_ch2_value);
            DisplayTask_SendUart2("add s2.id,2,%d\xFF\xFF\xFF", s2_ch3_value);
            DisplayTask_SendUart2("page0.t11.txt=\"%uRPM\"\xFF\xFF\xFF", g_display_data.motor_rpm);
            DisplayTask_SendUart2("page0.t12.txt=\"%u%%\"\xFF\xFF\xFF", g_display_data.light_duty);
            break;

          case 3U:
            DisplayTask_SendUart2("page0.t13.txt=\"%s\"\xFF\xFF\xFF", irrigation_screen_state);
            DisplayTask_SendUart2("page0.t14.txt=\"%s\"\xFF\xFF\xFF", pump_screen_state);
            DisplayTask_SendUart2("page0.t15.txt=\"%s\"\xFF\xFF\xFF", alarm_screen_state);
            DisplayTask_SendUart2("page0.t16.txt=\"%s\"\xFF\xFF\xFF", gate_screen_state);
            DisplayTask_SendUart2("page0.t33.txt=\"%s\"\xFF\xFF\xFF", curtain_screen_state);
            DisplayTask_SendUart2("page0.t34.txt=\"%s\"\xFF\xFF\xFF", buzzer_screen_state);
            break;

          default:
            DisplayTask_SendUart2("page0.t20.txt=\"%u.%02uV\"\xFF\xFF\xFF",
                                  g_display_data.light_voltage_x100 / 100U,
                                  g_display_data.light_voltage_x100 % 100U);
            DisplayTask_SendUart2("page0.t9.txt=\"%u.%uC\"\xFF\xFF\xFF",
                                  g_display_data.temperature_x10 / 10U,
                                  g_display_data.temperature_x10 % 10U);
            DisplayTask_SendUart2("page0.t10.txt=\"%u%%\"\xFF\xFF\xFF", g_display_data.dht11_humidity);
            DisplayTask_SendUart2("page0.t21.txt=\"%u.%ucm\"\xFF\xFF\xFF",
                                  g_display_data.water_level_x10_cm / 10U,
                                  g_display_data.water_level_x10_cm % 10U);
            DisplayTask_SendUart2("page0.t36.txt=\"%u.%ucm\"\xFF\xFF\xFF",
                                  WaterLevelAlarm_GetThresholdX10Cm() / 10U,
                                  WaterLevelAlarm_GetThresholdX10Cm() % 10U);
            DisplayTask_SendUart2("page2.t37.txt=\"T:%us,RPM:%u\"\xFF\xFF\xFF",
                                  fan_elapsed_s,
                                  g_display_data.motor_rpm);
            DisplayTask_SendUart2("page0.t39.txt=\"%lumL\"\xFF\xFF\xFF",
                                  (unsigned long)FlowSensor_GetTotalMl());
            DisplayTask_SendUart2("page0.t40.txt=\"%u.%ucm\"\xFF\xFF\xFF",
                                  WaterControl_GetTargetX10Cm() / 10U,
                                  WaterControl_GetTargetX10Cm() % 10U);
            break;
        }

        screen_tx_phase++;
        if (screen_tx_phase >= 5U)
        {
          screen_tx_phase = 0U;
        }
      }
    }

    osDelay(5);
  }
  /* USER CODE END StartDefaultTask */
}

void StartdisplayTask(void *argument)
{
  /* USER CODE BEGIN StartdisplayTask */
  uint8_t menu_state = 0U;
  uint8_t cursor_pos = 0U;
  uint8_t menu_redraw = 1U;
  uint32_t last_button_tick = 0U;
  uint32_t now_tick;
  uint8_t any_event;
  uint8_t btn_id;
  uint8_t btn_event;

  for(;;)
  {
    now_tick = HAL_GetTick();

    if ((now_tick - last_button_tick) >= 50U)
    {
      last_button_tick = now_tick;
      Button_Process();
    }

    any_event = Button_GetAnyEvent();
    btn_id = (any_event >> 4) & 0x0FU;
    btn_event = any_event & 0x0FU;

    if (btn_event == BUTTON_EVENT_SHORT_PRESS || btn_event == BUTTON_EVENT_LONG_PRESS)
    {
      switch (menu_state)
      {
        case 0U:
          if (btn_id == BUTTON_KEY1 && btn_event == BUTTON_EVENT_SHORT_PRESS)
          {
            menu_state = 1U;
            cursor_pos = 0U;
            menu_redraw = 1U;
            g_menu_active = 1U;
          }
          break;

        case 1U:
          if (btn_id == BUTTON_KEY2)
          {
            if (cursor_pos > 0U) { cursor_pos--; menu_redraw = 1U; }
          }
          else if (btn_id == BUTTON_KEY3)
          {
            if (cursor_pos < 5U) { cursor_pos++; menu_redraw = 1U; }
          }
          else if (btn_id == BUTTON_KEY1)
          {
            menu_state = cursor_pos + 2U;
            menu_redraw = 1U;
          }
          else if (btn_id == BUTTON_KEY4)
          {
            menu_state = 0U;
            g_menu_active = 0U;
            menu_redraw = 0U;
            OLED_AreaClear(0, 0, OLED_WIDTH, OLED_HEIGHT);
          }
          break;

        case 2U:
        case 3U:
        case 4U:
        case 5U:
        case 6U:
        case 7U:
          if (btn_id == BUTTON_KEY4)
          {
            menu_state = 1U;
            cursor_pos = 0U;
            menu_redraw = 1U;
          }
          if (menu_state == 2U)
          {
            if (btn_id == BUTTON_KEY2)
            {
              uint8_t lvl = Irrigation_GetLevel();
              if (lvl < IRRIGATION_LEVEL_MAX) { Irrigation_SetLevel(lvl + 1U); menu_redraw = 1U; }
            }
            else if (btn_id == BUTTON_KEY3)
            {
              uint8_t lvl = Irrigation_GetLevel();
              if (lvl > 0U) { Irrigation_SetLevel(lvl - 1U); menu_redraw = 1U; }
            }
          }
          break;

        default:
          break;
      }
    }

    if (menu_redraw != 0U && menu_state != 0U)
    {
      menu_redraw = 0U;
      OLED_AreaClear(0, 0, OLED_WIDTH, OLED_HEIGHT);

      switch (menu_state)
      {
        case 1U:
        {
          const char *items[] = {"1.Irrigation", "2.Water Ctrl", "3.Light Ctrl",
                                 "4.Gate", "5.Fault", "6.System"};
          uint8_t i;
          for (i = 0U; i < 6U; i++)
          {
            OLED_Printf5x8(8, (int16_t)(i * 10), "%c%s",
                           (i == cursor_pos) ? '>' : ' ', items[i]);
          }
          break;
        }

        case 2U:
          OLED_Printf5x8(0, 0, "Irrigation:");
          OLED_Printf5x8(0, 10, "Level: %s", Irrigation_GetLevelName(Irrigation_GetLevel()));
          OLED_Printf5x8(0, 20, "Duty: %u%%", Irrigation_GetDutyPercent());
          OLED_Printf5x8(0, 30, "State: %s", Irrigation_IsOn() != 0U ? "ON" : "OFF");
          OLED_Printf5x8(0, 42, "KEY2/3:Adj KEY4:Back");
          break;

        case 3U:
          OLED_Printf5x8(0, 0, "Water Control:");
          OLED_Printf5x8(0, 10, "Target: %u.%ucm",
                         WaterControl_GetTargetX10Cm() / 10U,
                         WaterControl_GetTargetX10Cm() % 10U);
          OLED_Printf5x8(0, 20, "Current: %u.%ucm",
                         g_display_data.water_level_x10_cm / 10U,
                         g_display_data.water_level_x10_cm % 10U);
          OLED_Printf5x8(0, 30, "Mode: %s", WaterControl_IsAutoMode() != 0U ? "AUTO" : "MANUAL");
          OLED_Printf5x8(0, 42, "KEY2/3:Adj KEY4:Back");
          break;

        case 4U:
          OLED_Printf5x8(0, 0, "Light Control:");
          OLED_Printf5x8(0, 10, "Duty: %u%%", g_display_data.light_duty);
          OLED_Printf5x8(0, 20, "Voltage: %u.%uV",
                         g_display_data.light_voltage_x100 / 100U,
                         g_display_data.light_voltage_x100 % 100U);
          OLED_Printf5x8(0, 30, "Mode: %s", AutoLight_IsAutoMode() != 0U ? "AUTO" : "MANUAL");
          OLED_Printf5x8(0, 42, "KEY4:Back");
          break;

        case 5U:
          OLED_Printf5x8(0, 0, "Gate Status:");
          OLED_Printf5x8(0, 10, "Gate: %s", g_display_data.gate_open != 0U ? "OPEN" : "CLOSED");
          OLED_Printf5x8(0, 20, "Angle: %u deg", Servo_GetAngle());
          OLED_Printf5x8(0, 42, "KEY4:Back");
          break;

        case 6U:
        {
          OLED_Printf5x8(0, 0, "Fault Info:");
          char fault_buf[64];
          OutputFault_GetFlagsString(fault_buf, sizeof(fault_buf));
          OLED_Printf5x8(0, 10, "%s", fault_buf);
          OLED_Printf5x8(0, 42, "KEY4:Back");
          break;
        }

        case 7U:
          OLED_Printf5x8(0, 0, "System Info:");
          OLED_Printf5x8(0, 10, "Temp: %u.%uC",
                         g_display_data.temperature_x10 / 10U,
                         g_display_data.temperature_x10 % 10U);
          OLED_Printf5x8(0, 20, "Humidity: %u%%", g_display_data.dht11_humidity);
          OLED_Printf5x8(0, 30, "Water: %u.%ucm",
                         g_display_data.water_level_x10_cm / 10U,
                         g_display_data.water_level_x10_cm % 10U);
          OLED_Printf5x8(0, 42, "KEY4:Back");
          break;

        default:
          break;
      }

      OLED_Update();
    }

    osDelay(30);
  }
  /* USER CODE END StartdisplayTask */
}

void StartbuzzerTask(void *argument)
{
  /* USER CODE BEGIN StartbuzzerTask */
  /* Infinite loop */
  for(;;)
  {
    Buzzer_Process();
    osDelay(1);
  }
  /* USER CODE END StartbuzzerTask */
}

/* USER CODE BEGIN Application */

void Startesp32Task(void *argument)
{
  (void)argument;
  for (;;)
  {
    {
      /* 二进制帧：AA 55 <len=16> <16字节payload>，与 ESP32 端 Stm32Data_t 一致 */
      typedef struct __attribute__((packed)) {
        uint16_t motor_rpm;
        uint8_t  light_duty;
        uint16_t light_voltage_x100;
        uint16_t temperature_x10;
        uint8_t  dht11_humidity;
        uint16_t distance_x10_cm;
        uint16_t water_level_x10_cm;
        uint16_t flow_ml_per_min;
        uint8_t  pump_on;
        uint8_t  buzzer_on;
        uint8_t  alarm_on;
        uint8_t  gate_open;
      } Esp32Frame_t;

      Esp32Frame_t frame;
      uint8_t pkt[3 + sizeof(Esp32Frame_t)];  /* AA 55 len payload */

      /* 编译时校验：struct 必须 18 字节（含 2 字节对齐填充） */
      _Static_assert(sizeof(Esp32Frame_t) == 18U, "Esp32Frame_t must be 18 bytes");

      frame.motor_rpm          = (uint16_t)(MotorSpeed_GetRpm() + 0.5f);
      frame.light_duty         = LightPwm_GetDutyPercent();
      frame.light_voltage_x100 = g_display_data.light_voltage_x100;
      frame.temperature_x10    = g_display_data.temperature_x10;
      frame.dht11_humidity     = g_display_data.dht11_humidity;
      frame.distance_x10_cm    = (Ultrasonic_HasValidData() != 0U)
                                 ? Ultrasonic_GetLastDistanceX10Cm() : 0U;
      frame.water_level_x10_cm = Ultrasonic_ConvertDistanceToWaterLevelX10Cm(frame.distance_x10_cm);
      frame.flow_ml_per_min    = FlowSensor_GetFlowMlPerMin();
      frame.pump_on            = Pump_IsOn();
      frame.buzzer_on          = Buzzer_IsOn();
      frame.alarm_on           = AlarmLed_IsOn();
      frame.gate_open          = g_display_data.gate_open;

      pkt[0] = 0xAAU;
      pkt[1] = 0x55U;
      pkt[2] = (uint8_t)sizeof(Esp32Frame_t);
      memcpy(&pkt[3], &frame, sizeof(Esp32Frame_t));

      (void)HAL_UART_Transmit(&huart3, pkt, sizeof(pkt), 100U);
    }
    osDelay(ESP32_PUSH_MS);
  }
}

/* USER CODE END Application */
